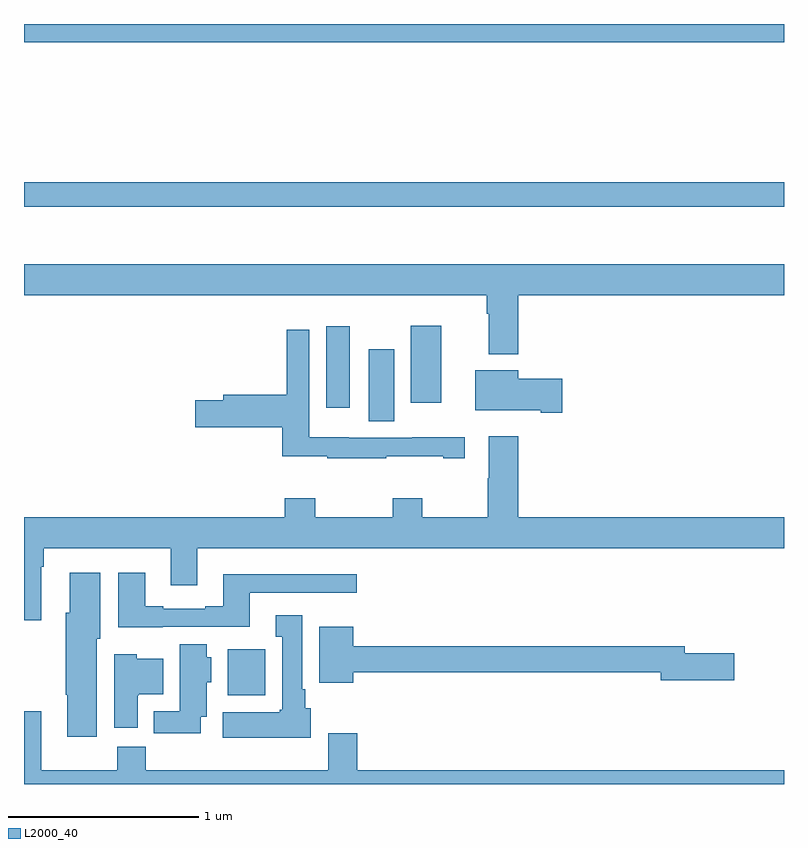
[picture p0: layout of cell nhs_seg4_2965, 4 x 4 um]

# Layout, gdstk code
import gdstk
lib = gdstk.Library(unit=1e-6, precision=1e-09)
def R(c, l, rs):  # rectangles x0, y0, x1, y1
    for r in rs: c.add(gdstk.rectangle(r[:2], r[2:], *l))
def P(c, l, *ps):  # polygons
    for p in ps: c.add(gdstk.Polygon(p, *l))
L2000_40 = (2000, 40)

nhs_seg4_2965 = lib.new_cell('nhs_seg4_2965')
R(nhs_seg4_2965, L2000_40, [(268.073,809.366,268.27,809.608), (268.814,810.808,268.948,811.189), (268.592,810.879,268.714,811.309), (269.036,810.906,269.197,811.312), (267,811.938,271,812.066), (267,812.804,271,812.9)])
P(nhs_seg4_2965, L2000_40, [(269.6,811.472),(271,811.472),(271,811.636),(267,811.636),(267,811.472),(269.435,811.472),(269.435,811.376),(269.447,811.376),(269.447,811.163),(269.6,811.163)],
  [(268.907,810.625),(269.207,810.625),(269.207,810.615),(269.32,810.615),(269.32,810.725),(269.044,810.725),(269.044,810.723),(268.71,810.723),(268.71,810.724),(268.5,810.724),(268.5,811.291),(268.384,811.291),(268.384,810.95),(268.049,810.95),(268.049,810.92),(267.9,810.92),(267.9,810.778),(268.358,810.778),(268.358,810.625),(268.597,810.625),(268.597,810.615),(268.907,810.615)],
  [(269.833,811.032),(269.602,811.032),(269.602,811.078),(269.375,811.078),(269.375,810.866),(269.72,810.866),(269.72,810.854),(269.833,810.854)],
  [(267.091,810.044),(267.104,810.044),(267.104,810.14),(267.773,810.14),(267.773,809.946),(267.913,809.946),(267.913,810.14),(271,810.14),(271,810.304),(269.6,810.304),(269.6,810.73),(269.447,810.73),(269.447,810.509),(269.44,810.509),(269.44,810.304),(269.097,810.304),(269.097,810.403),(268.942,810.403),(268.942,810.304),(268.533,810.304),(268.533,810.403),(268.373,810.403),(268.373,810.304),(267,810.304),(267,809.763),(267.091,809.763)],
  [(267.382,809.664),(267.4,809.664),(267.4,810.013),(267.242,810.013),(267.242,809.802),(267.22,809.802),(267.22,809.371),(267.227,809.371),(267.227,809.148),(267.382,809.148)],
  [(267.729,809.727),(268.189,809.727),(268.189,809.907),(268.75,809.907),(268.75,810.004),(268.049,810.004),(268.049,809.836),(267.953,809.836),(267.953,809.823),(267.733,809.823),(267.733,809.836),(267.637,809.836),(267.637,810.013),(267.497,810.013),(267.497,809.726),(267.729,809.726)],
  [(268.51,809.298),(268.48,809.298),(268.48,809.398),(268.465,809.398),(268.465,809.788),(268.325,809.788),(268.325,809.675),(268.358,809.675),(268.358,809.292),(268.345,809.292),(268.345,809.278),(268.046,809.278),(268.046,809.144),(268.51,809.144)],
  [(268.732,809.488),(270.35,809.488),(270.35,809.446),(270.739,809.446),(270.739,809.588),(270.478,809.588),(270.478,809.624),(268.732,809.624),(268.732,809.728),(268.553,809.728),(268.553,809.432),(268.732,809.432)],
  [(267.931,809.255),(267.961,809.255),(267.961,809.436),(267.985,809.436),(267.985,809.568),(267.961,809.568),(267.961,809.635),(267.821,809.635),(267.821,809.284),(267.683,809.284),(267.683,809.166),(267.931,809.166)],
  [(267.598,809.366),(267.604,809.366),(267.604,809.372),(267.733,809.372),(267.733,809.56),(267.594,809.56),(267.594,809.584),(267.476,809.584),(267.476,809.196),(267.598,809.196)],
  [(271,808.972),(268.754,808.972),(268.754,809.167),(268.601,809.167),(268.601,808.972),(267.641,808.972),(267.641,809.096),(267.49,809.096),(267.49,808.972),(267.091,808.972),(267.091,809.284),(267,809.284),(267,808.9),(271,808.9)])

lib.write_gds('nhs_seg4_2965.gds')
